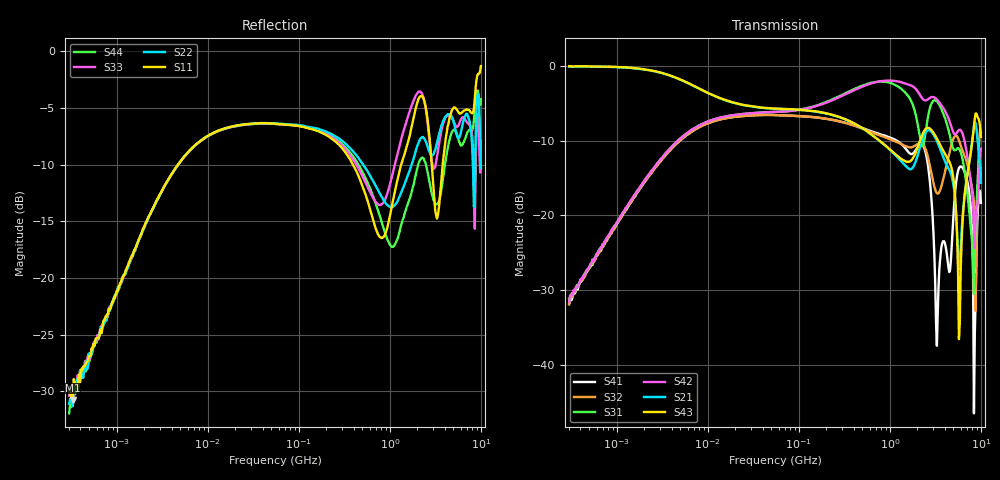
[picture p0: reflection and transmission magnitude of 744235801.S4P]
! This data is being provided by Wuerth Elektronik eiSos GmbH & Co. KG to the industry for analysis.
! Document information:
! Version:rev19a Date: 16/12/2019
! Component information:
! Match Code: WE-CNSW P/N: 744235801 Size: 1812
! Disclaimer:  While Würth Elektronik eiSos has made every reasonable effort to ensure the accuracy
! of the information provided, Würth Elektronik eiSos does not guarantee the exemption of error on the
! data collection measurements, nor does Würth Elektronik eiSos guarantee that the information is current.
! Würth Elektronik eiSos reserves the right to make any adjustments at any time without notice.
! Würth Elektronik eiSos expressly disclaims all implied warranties regarding this measurement data collection.
! Note 1  This data measurement is representative according to the product implementation into the fixture.
! Component behavior is sensitive to implementation into the fixture, which includes board
! materials, trace geometry information, connector pin out, layer connection, use of de-embedding
! techniques, etc.
! Note 2 - The fixture was designed specifically to match the 50 Ohm line impedance, as well as the connector impedance,
! in order to accomplish a reliable measurement without reflections in the trace. Any other implementation of the fixture will change the obtained
! measurement performance. The used fixture behavior was de-embedded to accomplish reliable measurement results.
! The test setup consisted of the following:
!  - Agilent VNA E5071C or E5071B
!  - Calibrations are SOLT (short open load thru)
!  - De-embedding of the SMA's or line cards were included
!  - Equipment Settings -
!  - Sampling - 501 points
!  - IF BW  70 kHz
!  - Averaging  Not used
!  Port 1----->|1|  |2| -----> Port 3
!  |  DUT  |
!  Port 2----->|3|  |4| -----> Port 4
!*VNA Port --> |Port in Datasheet|
! |Port in Datasheet| --> VNA Port
! For further information regarding this testing, please contact
! Wuerth Elektronik eiSos
! Contact: EDA team in QDC
! Email: libraries@we-online.com or libraries@we-online.de
# Hz S dB R 50
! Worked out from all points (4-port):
!   501 points, 300 kHz to 10 GHz, reference 50 ohm
!   strongest paths, dB at 300 kHz, 4.054 MHz, 54.77 MHz, 740.1 MHz, 10 GHz:
!     S43: 0.0, -1.4, -5.7, -9.8, -9.5
!     S21: -0.1, -1.4, -5.7, -9.8, -15.6
!     S42: -31.6, -10.8, -6.1, -2.1, -11.1
!     S31: -31.2, -10.8, -6.1, -2.1, -15.0
!     S32: -31.9, -11.0, -6.6, -9.2, -8.9
!     S41: -31.8, -11.0, -6.6, -9.0, -18.3
!   lowest |S11| = -30.7 dB at 329.3 kHz (marker M1), VSWR 1.06, Z = 50.6 + j2.86 ohm
!   |S11| at or under -10 dB: start of sweep to 4.714 MHz; 395 MHz to 1.33 GHz (935.4 MHz wide, 108 % of centre); 2.886 GHz to 3.807 GHz (920.6 MHz wide, 27.5 % of centre)
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300000  -29.95 80.6  -0.07 -1.5  -31.38 84.6  -31.56 -94.0
        -0.07 -1.8  -31.10 79.1  -30.93 -93.6  -31.44 87.3
        -31.17 85.2  -31.92 -93.5  -30.36 92.9  -0.05 -1.5
        -31.78 -94.4  -31.62 86.5  -0.02 -1.6  -31.92 82.4
329339  -30.75 77.3  -0.06 -1.6  -30.40 84.5  -30.03 -97.3
        -0.09 -1.7  -31.30 74.1  -30.23 -94.1  -29.95 85.6
        -30.39 86.0  -30.87 -93.1  -30.70 86.8  -0.01 -1.7
        -30.60 -95.8  -30.63 84.7  -0.05 -1.6  -30.87 89.3
2.059939e9  -4.20 -19.2  -11.59 126.0  -8.34 -72.6  -10.68 -26.9
            -11.58 125.8  -8.10 -12.5  -10.39 -29.4  -3.54 -57.2
            -8.33 -72.7  -10.38 -29.5  -3.55 -27.7  -10.60 120.1
            -10.72 -27.0  -3.53 -57.2  -10.60 120.1  -9.90 -14.9
3.286603e9  -14.74 -57.1  -10.03 -12.4  -4.73 -76.2  -37.82 -69.2
            -10.03 -12.5  -8.11 -33.0  -17.03 151.8  -4.46 -82.1
            -4.73 -76.3  -17.03 152.0  -9.39 -43.8  -9.69 -10.3
            -37.46 -67.0  -4.46 -82.1  -9.70 -10.3  -13.49 -37.2
5.871222e9  -5.49 -97.6  -26.48 69.3  -11.21 -133.9  -13.52 -66.5
            -26.57 69.7  -7.48 -97.0  -10.27 -69.4  -8.51 -131.4
            -11.24 -134.2  -10.27 -69.5  -6.21 -98.1  -33.97 30.3
            -13.49 -66.6  -8.52 -131.4  -34.24 31.1  -8.12 -91.1
8.568892e9  -4.20 -119.7  -7.55 -148.5  -25.31 -8.5  -37.12 -85.2
            -7.56 -148.9  -12.86 -96.3  -21.41 158.9  -24.74 -157.8
            -25.57 -5.9  -21.44 158.2  -15.64 -119.8  -7.07 -137.0
            -36.05 -73.6  -24.37 -160.7  -7.05 -136.7  -5.19 -102.8
1e10  -1.30 -164.0  -15.57 20.1  -14.91 -162.7  -18.35 -171.9
      -15.63 20.2  -10.29 170.7  -8.90 -179.9  -11.19 143.6
      -15.04 -162.7  -8.85 -179.9  -7.88 -116.4  -9.51 39.5
      -18.32 -173.5  -11.08 143.7  -9.47 39.3  -4.24 -128.4
